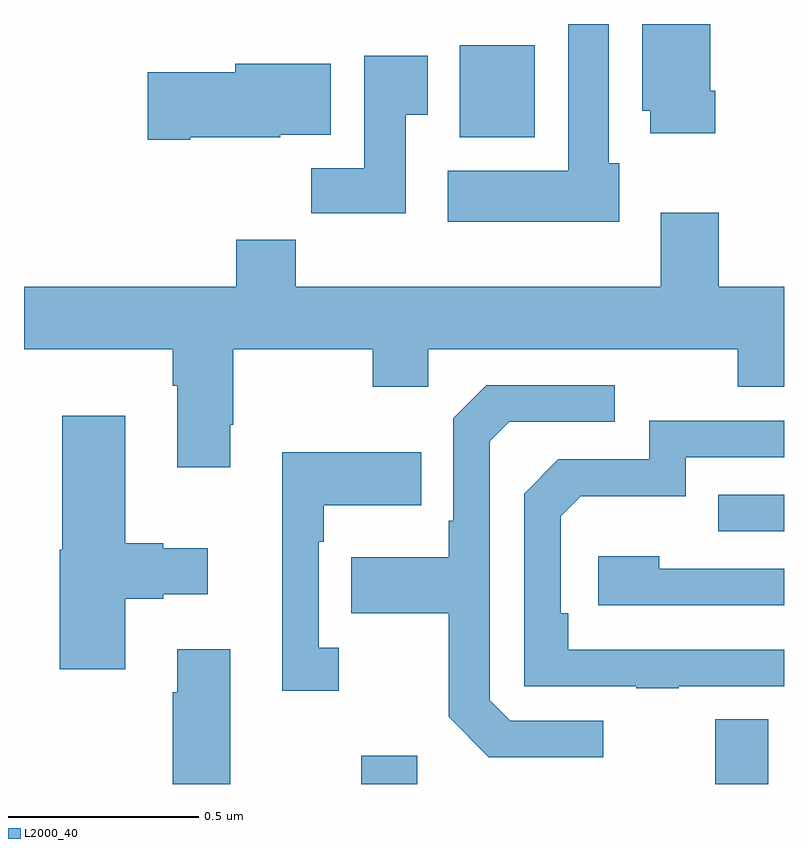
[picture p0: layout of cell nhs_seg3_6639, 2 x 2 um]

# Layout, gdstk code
import gdstk
lib = gdstk.Library(unit=1e-6, precision=1e-09)
def R(c, l, rs):  # rectangles x0, y0, x1, y1
    for r in rs: c.add(gdstk.rectangle(r[:2], r[2:], *l))
def P(c, l, *ps):  # polygons
    for p in ps: c.add(gdstk.Polygon(p, *l))
L2000_40 = (2000, 40)

nhs_seg3_6639 = lib.new_cell('nhs_seg3_6639')
R(nhs_seg3_6639, L2000_40, [(193.888,738.4,194.035,738.475), (194.819,738.4,194.959,738.571), (194.827,739.065,195,739.161), (194.147,740.102,194.344,740.344), (193,740.399,193.039,740.4)])
P(nhs_seg3_6639, L2000_40, [(194.819,740.224),(194.806,740.224),(194.806,740.4),(194.627,740.4),(194.627,740.172),(194.648,740.172),(194.648,740.112),(194.819,740.112)],
  [(194.566,740.034),(194.539,740.034),(194.539,740.4),(194.432,740.4),(194.432,740.014),(194.115,740.014),(194.115,739.88),(194.566,739.88)],
  [(194.005,740.161),(194.062,740.161),(194.062,740.317),(193.895,740.317),(193.895,740.02),(193.756,740.02),(193.756,739.902),(194.005,739.902)],
  [(193.438,740.102),(193.674,740.102),(193.674,740.108),(193.807,740.108),(193.807,740.296),(193.556,740.296),(193.556,740.273),(193.326,740.273),(193.326,740.095),(193.438,740.095)],
  [(193,739.544),(193.391,739.544),(193.391,739.448),(193.403,739.448),(193.403,739.233),(193.543,739.233),(193.543,739.345),(193.551,739.345),(193.551,739.544),(193.918,739.544),(193.918,739.445),(194.064,739.445),(194.064,739.544),(194.878,739.544),(194.878,739.445),(195,739.445),(195,739.708),(194.828,739.708),(194.828,739.903),(194.675,739.903),(194.675,739.708),(193.715,739.708),(193.715,739.832),(193.559,739.832),(193.559,739.708),(193,739.708)],
  [(194.524,738.567),(194.28,738.567),(194.226,738.621),(194.226,739.302),(194.277,739.353),(194.554,739.353),(194.554,739.449),(194.217,739.449),(194.13,739.362),(194.13,739.093),(194.118,739.093),(194.118,738.997),(193.861,738.997),(193.861,738.85),(194.118,738.85),(194.118,738.577),(194.223,738.471),(194.524,738.471)],
  [(193.267,738.887),(193.367,738.887),(193.367,738.899),(193.483,738.899),(193.483,739.021),(193.367,739.021),(193.367,739.034),(193.267,739.034),(193.267,739.369),(193.1,739.369),(193.1,739.017),(193.094,739.017),(193.094,738.702),(193.267,738.702)],
  [(194.723,738.657),(195,738.657),(195,738.753),(194.432,738.753),(194.432,738.85),(194.412,738.85),(194.412,739.104),(194.465,739.157),(194.742,739.157),(194.742,739.26),(195,739.26),(195,739.356),(194.646,739.356),(194.646,739.254),(194.406,739.254),(194.316,739.164),(194.316,738.657),(194.611,738.657),(194.611,738.652),(194.723,738.652)],
  [(193.828,738.758),(193.776,738.758),(193.776,739.037),(193.789,739.037),(193.789,739.133),(194.045,739.133),(194.045,739.273),(193.679,739.273),(193.679,738.645),(193.828,738.645)],
  [(195,738.966),(194.672,738.966),(194.672,739),(194.511,739),(194.511,738.87),(195,738.87)],
  [(193.543,738.754),(193.403,738.754),(193.403,738.641),(193.391,738.641),(193.391,738.4),(193.543,738.4)])

lib.write_gds('nhs_seg3_6639.gds')
